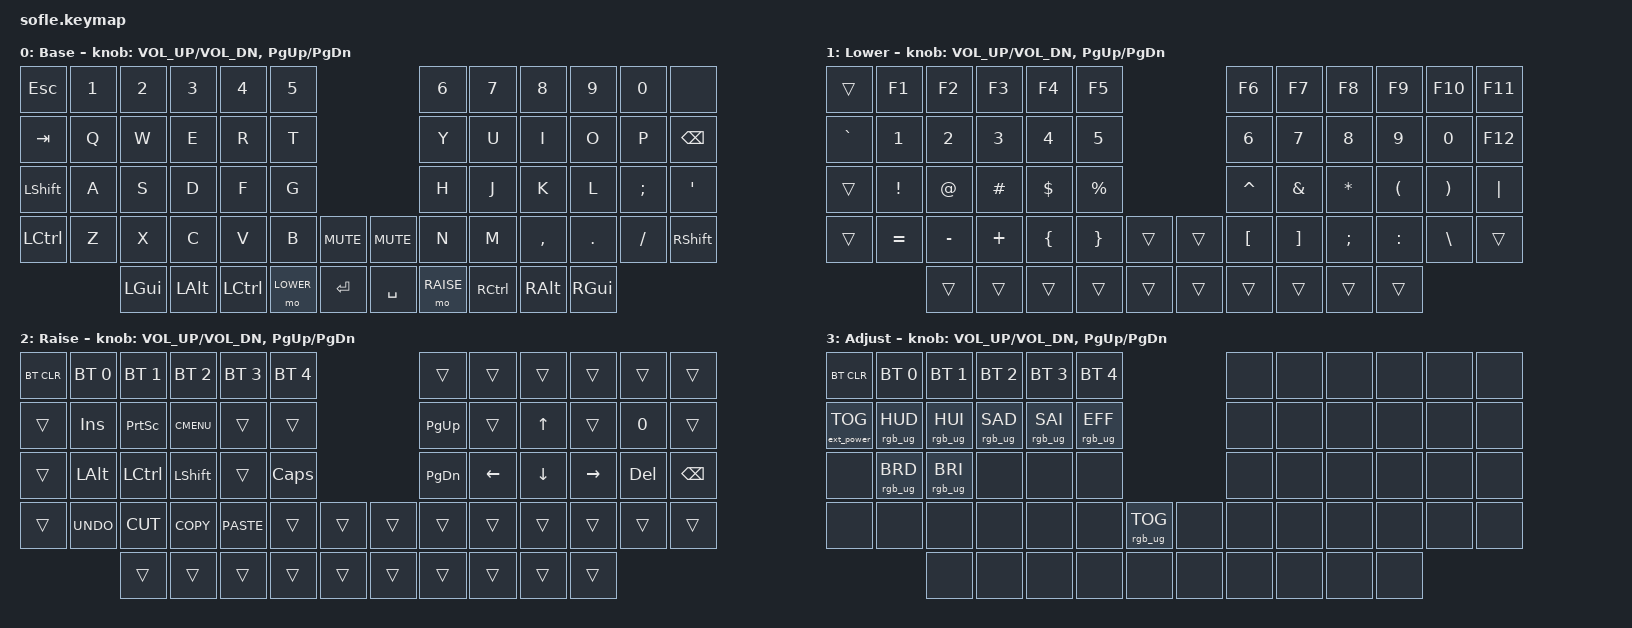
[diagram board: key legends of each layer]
/*
 * Copyright (c) 2020 The ZMK Contributors
 *
 * SPDX-License-Identifier: MIT
 */

#include <behaviors.dtsi>
#include <dt-bindings/zmk/bt.h>
#include <dt-bindings/zmk/ext_power.h>
#include <dt-bindings/zmk/keys.h>
#include <dt-bindings/zmk/rgb.h>

#define BASE 0
#define LOWER 1
#define RAISE 2
#define ADJUST 3

/ {
    conditional_layers {
        compatible = "zmk,conditional-layers";

        adjust_layer {
            if-layers = <LOWER RAISE>;
            then-layer = <ADJUST>;
        };
    };

    keymap {
        compatible = "zmk,keymap";

        default_layer {
            display-name = "Base";
            bindings = <
&kp ESCAPE        &kp N1  &kp N2    &kp N3    &kp N4     &kp N5                               &kp N6     &kp N7     &kp N8     &kp N9    &kp N0    &none
&kp TAB           &kp Q   &kp W     &kp E     &kp R      &kp T                                &kp Y      &kp U      &kp I      &kp O     &kp P     &kp BSPC
&kp LEFT_SHIFT    &kp A   &kp S     &kp D     &kp F      &kp G                                &kp H      &kp J      &kp K      &kp L     &kp SEMI  &kp SQT
&kp LEFT_CONTROL  &kp Z   &kp X     &kp C     &kp V      &kp B      &kp C_MUTE    &kp C_MUTE  &kp N      &kp M      &kp COMMA  &kp DOT   &kp FSLH  &kp RSHFT
                          &kp LGUI  &kp LALT  &kp LCTRL  &mo LOWER  &kp RET       &kp SPACE   &mo RAISE  &kp RCTRL  &kp RALT   &kp RGUI
            >;

            // Encoder 1 (Esquerdo): C_VOL_UP/C_VOL_DN
            // Encoder 2 (Direito): PG_UP/PG_DN

            sensor-bindings = <&inc_dec_kp C_VOL_UP C_VOL_DN &inc_dec_kp PG_UP PG_DN>;
        };

        lower_layer {
            display-name = "Lower";
            bindings = <
&trans     &kp F1     &kp F2     &kp F3    &kp F4    &kp F5                       &kp F6     &kp F7    &kp F8     &kp F9     &kp F10   &kp F11
&kp GRAVE  &kp N1     &kp N2     &kp N3    &kp N4    &kp N5                       &kp N6     &kp N7    &kp N8     &kp N9     &kp N0    &kp F12
&trans     &kp EXCL   &kp AT     &kp HASH  &kp DLLR  &kp PRCNT                    &kp CARET  &kp AMPS  &kp ASTRK  &kp LPAR   &kp RPAR  &kp PIPE
&trans     &kp EQUAL  &kp MINUS  &kp PLUS  &kp LBRC  &kp RBRC   &trans    &trans  &kp LBKT   &kp RBKT  &kp SEMI   &kp COLON  &kp BSLH  &trans
                      &trans     &trans    &trans    &trans     &trans    &trans  &trans     &trans    &trans     &trans
            >;

            // Encoder 1 (Esquerdo): C_VOL_UP/C_VOL_DN
            // Encoder 2 (Direito): PG_UP/PG_DN

            sensor-bindings = <&inc_dec_kp C_VOL_UP C_VOL_DN &inc_dec_kp PG_UP PG_DN>;
        };

        raise_layer {
            display-name = "Raise";
            bindings = <
&bt BT_CLR  &bt BT_SEL 0  &bt BT_SEL 1  &bt BT_SEL 2  &bt BT_SEL 3  &bt BT_SEL 4                    &trans     &trans    &trans    &trans     &trans   &trans
&trans      &kp INS       &kp PSCRN     &kp K_CMENU   &trans        &trans                          &kp PG_UP  &trans    &kp UP    &trans     &kp N0   &trans
&trans      &kp LALT      &kp LCTRL     &kp LSHFT     &trans        &kp CLCK                        &kp PG_DN  &kp LEFT  &kp DOWN  &kp RIGHT  &kp DEL  &kp BSPC
&trans      &kp K_UNDO    &kp K_CUT     &kp K_COPY    &kp K_PASTE   &trans        &trans    &trans  &trans     &trans    &trans    &trans     &trans   &trans
                          &trans        &trans        &trans        &trans        &trans    &trans  &trans     &trans    &trans    &trans
            >;

            // Encoder 1 (Esquerdo): C_VOL_UP/C_VOL_DN
            // Encoder 2 (Direito): PG_UP/PG_DN

            sensor-bindings = <&inc_dec_kp C_VOL_UP C_VOL_DN &inc_dec_kp PG_UP PG_DN>;
        };

        adjust_layer {
            display-name = "Adjust";
            bindings = <
&bt BT_CLR         &bt BT_SEL 0     &bt BT_SEL 1     &bt BT_SEL 2     &bt BT_SEL 3     &bt BT_SEL 4                               &none  &none  &none  &none  &none  &none
&ext_power EP_TOG  &rgb_ug RGB_HUD  &rgb_ug RGB_HUI  &rgb_ug RGB_SAD  &rgb_ug RGB_SAI  &rgb_ug RGB_EFF                            &none  &none  &none  &none  &none  &none
&none              &rgb_ug RGB_BRD  &rgb_ug RGB_BRI  &none            &none            &none                                      &none  &none  &none  &none  &none  &none
&none              &none            &none            &none            &none            &none            &rgb_ug RGB_TOG    &none  &none  &none  &none  &none  &none  &none
                                    &none            &none            &none            &none            &none              &none  &none  &none  &none  &none
            >;

            // Encoder 1 (Esquerdo): C_VOL_UP/C_VOL_DN
            // Encoder 2 (Direito): PG_UP/PG_DN

            sensor-bindings = <&inc_dec_kp C_VOL_UP C_VOL_DN &inc_dec_kp PG_UP PG_DN>;
        };
    };

    // Nota: Os nós de Devicetree (chosen, &i2c0, encoders, sensors) não foram incluídos aqui,
    // pois são definidos em outra parte (geralmente nos arquivos .dts ou .overlay)
    // e já foram corrigidos para a estrutura correta em interações anteriores.
};
